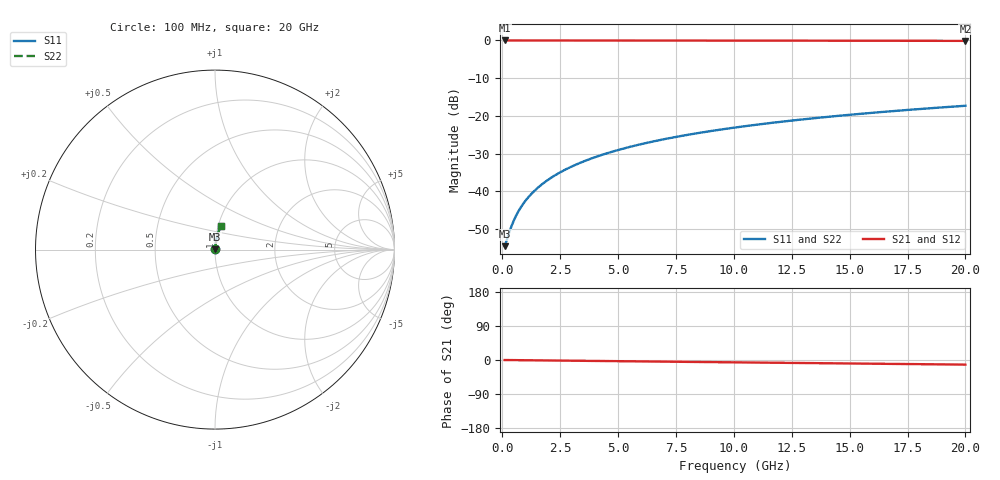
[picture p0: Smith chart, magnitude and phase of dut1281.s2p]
! Touchstone file exported from HFSS 2026.1.0
!  File:  C:/ffzhzh/LocalFiles/Ansys_Project_Files/temp_train_BSMRDL_1281_1783177847_51560.aedt
!  Generated:  11:11:57 PM Jul  4, 2026
!  Design:  BSMRDL
!  Project:  temp_train_BSMRDL_1281_1783177847_51560
! Variables:
!  h_bsmrdl = 2.7um
!  h_ox = 20um
!  h_rdl = 5um
!  h_sub = 80um
!  h_tmrdl = 5um
!  h_tsv = 80um
!  h_via = 3um
!  l_bsmrdl = 143.15um
!  l_sub = 543.15um
!  l_tmrdl = 200um
!  m_sub = 200um
!  pitch = 32.49um
!  r_tsv = 6um
!  s_tmrdl = 10um
!  w_bsmrdl = 12.56um
!  w_sub = 500um
!  w_tmrdl = 12um
!  x_tsv_center1 = 206um
!  x_tsv_center2 = 361.71um
!  x_tsv_center3 = 573.71um
!  x_tsv_center4 = 729.42um
!  x_tsv_center5 = 941.42um
!  x_tsv_center6 = 1097.13um
# GHz S MA R 50.000000
! Terminal data exported
! Port[1] = BSM_RDL1_1_T1
! Port[2] = BSM_RDL1_1_T2
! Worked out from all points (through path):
!   200 points, 100 MHz to 20 GHz, reference 50 ohm
!   highest |S21| = -0.01 dB at 100 MHz (marker M1); lowest = -0.1 dB at 20 GHz (marker M2)
!   group delay of S21, straight-line fit = 1.69 ps
!   lowest |S11| = -54.5 dB at 100 MHz (marker M3), VSWR 1.00, Z = 50.2 + j0.0757 ohm
!   |S11| at or under -10 dB: start of sweep to end of sweep
!   |S22| runs from -54.5 to -17.3 dB; largest |S21 - S12| = 3e-15
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0.1  0.001883 23.6  0.9983 -0.1  0.9983 -0.1  0.001883 23.6
! Gamma 0 0 0 0
! Port Impedance 50 0 50 0
0.4  0.003487 58.6  0.9982 -0.3  0.9982 -0.3  0.003487 58.6
0.5  0.00414 63.4  0.9982 -0.3  0.9982 -0.3  0.00414 63.4
0.6  0.004806 66.7  0.9981 -0.4  0.9981 -0.4  0.004806 66.7
0.7  0.005479 69.3  0.9981 -0.4  0.9981 -0.4  0.005479 69.3
0.9  0.006836 72.8  0.998 -0.6  0.998 -0.6  0.006836 72.8
1.2  0.008887 76.2  0.998 -0.8  0.998 -0.8  0.008887 76.2
1.4  0.01026 77.6  0.9979 -0.9  0.9979 -0.9  0.01026 77.6
1.7  0.01233 79.2  0.9978 -1.1  0.9978 -1.1  0.01233 79.2
2.2  0.0158 80.9  0.9977 -1.4  0.9977 -1.4  0.0158 80.9
2.8  0.01999 82.0  0.9976 -1.7  0.9976 -1.7  0.01999 82.0
3.5  0.02488 82.6  0.9974 -2.2  0.9974 -2.2  0.02488 82.6
4.2  0.02977 82.9  0.9972 -2.6  0.9972 -2.6  0.02977 82.9
5  0.03535 82.9  0.9969 -3.1  0.9969 -3.1  0.03535 82.9
5.9  0.04161 82.8  0.9966 -3.7  0.9966 -3.7  0.04161 82.8
6.8  0.04785 82.5  0.9962 -4.2  0.9962 -4.2  0.04785 82.5
8.3  0.0582 82.0  0.9954 -5.1  0.9954 -5.1  0.0582 82.0
10.1  0.07052 81.1  0.9942 -6.2  0.9942 -6.2  0.07052 81.1
11.7  0.08138 80.3  0.9931 -7.2  0.9931 -7.2  0.08137 80.3
13.4  0.09281 79.4  0.9918 -8.2  0.9918 -8.2  0.09281 79.4
16.7  0.1147 77.6  0.989 -10.2  0.989 -10.2  0.1147 77.6
20  0.1362 75.7  0.9857 -12.2  0.9857 -12.2  0.1362 75.7
